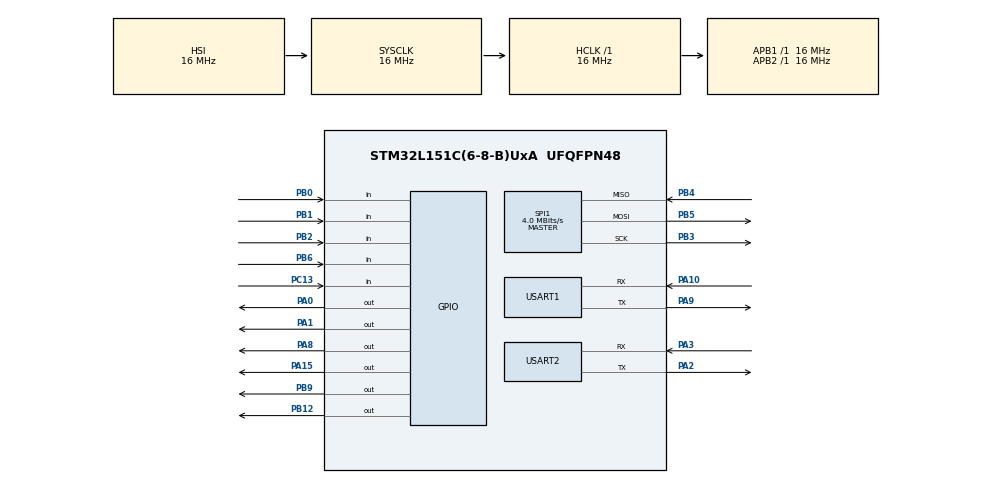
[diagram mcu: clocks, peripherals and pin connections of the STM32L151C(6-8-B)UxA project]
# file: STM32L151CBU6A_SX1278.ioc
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Mcu.Family=STM32L1
Mcu.Name=STM32L151C(6-8-B)UxA
Mcu.Package=UFQFPN48
NVIC.PriorityGroup=NVIC_PRIORITYGROUP_4
NVIC.USART2_IRQn=true\:0\:0\:false\:false\:true\:true\:true
PA0-WKUP1.PinState=GPIO_PIN_SET
PA0-WKUP1.Signal=GPIO_Output
PA1.PinState=GPIO_PIN_SET
PA1.Signal=GPIO_Output
PA10.Mode=Asynchronous
PA10.Signal=USART1_RX
PA13.Signal=SYS_JTMS-SWDIO
PA14.Signal=SYS_JTCK-SWCLK
PA15.PinState=GPIO_PIN_SET
PA15.Signal=GPIO_Output
PA2.Mode=Asynchronous
PA2.Signal=USART2_TX
PA3.Mode=Asynchronous
PA3.Signal=USART2_RX
PA8.Signal=GPIO_Output
PA9.Mode=Asynchronous
PA9.Signal=USART1_TX
PB0.Signal=GPIO_Input
PB1.Signal=GPIO_Input
PB12.PinState=GPIO_PIN_SET
PB12.Signal=GPIO_Output
PB2.Signal=GPIO_Input
PB3.Mode=Full_Duplex_Master
PB3.Signal=SPI1_SCK
PB4.Mode=Full_Duplex_Master
PB4.Signal=SPI1_MISO
PB5.Mode=Full_Duplex_Master
PB5.Signal=SPI1_MOSI
PB6.Signal=GPIO_Input
PB9.PinState=GPIO_PIN_SET
PB9.Signal=GPIO_Output
PC13-WKUP2.Signal=GPIO_Input
ProjectManager.HeapSize=0x200
ProjectManager.StackSize=0x400
ProjectManager.TargetToolchain=EWARM V8.32
RCC.AHBFreq_Value=16000000
RCC.APB1Freq_Value=16000000
RCC.APB1TimFreq_Value=16000000
RCC.APB2Freq_Value=16000000
RCC.APB2TimFreq_Value=16000000
RCC.HCLKFreq_Value=16000000
RCC.HSE_VALUE=24000000
RCC.HSI_VALUE=16000000
RCC.LSE_VALUE=32768
RCC.MSI_VALUE=2097000
RCC.SYSCLKFreq_VALUE=16000000
RCC.SYSCLKSource=RCC_SYSCLKSOURCE_HSI
RCC.VCOOutputFreq_Value=48000000
SPI1.BaudRatePrescaler=SPI_BAUDRATEPRESCALER_4
SPI1.CalculateBaudRate=4.0 MBits/s
SPI1.Direction=SPI_DIRECTION_2LINES
SPI1.Mode=SPI_MODE_MASTER
SPI1.VirtualType=VM_MASTER
USART1.VirtualMode=VM_ASYNC
USART2.VirtualMode=VM_ASYNC
board=custom

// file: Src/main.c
/* USER CODE BEGIN Header */
/**
  ******************************************************************************
  * @file           : main.c
  * @brief          : Main program body
  ******************************************************************************
  * @attention
  *
  * <h2><center>&copy; Copyright (c) 2019 STMicroelectronics.
  * All rights reserved.</center></h2>
  *
  * This software component is licensed by ST under BSD 3-Clause license,
  * the "License"; You may not use this file except in compliance with the
  * License. You may obtain a copy of the License at:
  *                        opensource.org/licenses/BSD-3-Clause
  *
  ******************************************************************************
  */
/* USER CODE END Header */

#include "main.h"
#include "spi.h"
#include "usart.h"
#include "gpio.h"

/* USER CODE BEGIN Includes */

//#include "esp8266.h"
//lora
#include "platform.h"
#include "radio.h"
#include "sx1276-Hal.h"
#include "sx1276-LoRa.h"
#include "sx1276-LoRaMisc.h"

//dht11
#include "dht11.h"
/* USER CODE END Includes */

/* USER CODE BEGIN PD */

#define BUFFERSIZE 10

#define SLAVENUM 0

/* USER CODE END PD */

/* USER CODE BEGIN PV */
uint8_t RegVersion = 0;

// char request_num = -1;
// uint16_t sizeof_request_num = sizeof(request_num);
char data_frame_rev[BUFFERSIZE] = "";
char data_frame_send[BUFFERSIZE] = "";
uint16_t sizeof_data_frame = BUFFERSIZE;

DHT11_Data_TypeDef DHT11_Data;
// char wendu = 21;
// char shidu = 82;

//lora设备初始化的返回值
tRadioDriver *Radio = NULL;

/* USER CODE END PV */

void SystemClock_Config(void);

/* USER CODE BEGIN 0 */

void led_init()//LED初始化为三色
{
	HAL_GPIO_WritePin(GPIOB, GPIO_PIN_12, GPIO_PIN_RESET);//LED_B
	HAL_GPIO_WritePin(GPIOA, GPIO_PIN_0, GPIO_PIN_RESET);//LED_R
	HAL_GPIO_WritePin(GPIOA, GPIO_PIN_1, GPIO_PIN_RESET);//LED_G
}
void led_send()//发送时：蓝灯
{
	HAL_GPIO_WritePin(GPIOB, GPIO_PIN_12, GPIO_PIN_RESET);
	HAL_GPIO_WritePin(GPIOA, GPIO_PIN_0, GPIO_PIN_SET);
	HAL_GPIO_WritePin(GPIOA, GPIO_PIN_1, GPIO_PIN_SET);
}

void led_rev()//接收时：绿灯
{
	HAL_GPIO_WritePin(GPIOB, GPIO_PIN_12, GPIO_PIN_SET);
	HAL_GPIO_WritePin(GPIOA, GPIO_PIN_0, GPIO_PIN_SET);
	HAL_GPIO_WritePin(GPIOA, GPIO_PIN_1, GPIO_PIN_RESET);
}
void led_debug()//debug：红灯
{
	HAL_GPIO_WritePin(GPIOB, GPIO_PIN_12, GPIO_PIN_SET);
	HAL_GPIO_WritePin(GPIOA, GPIO_PIN_0, GPIO_PIN_RESET);
	HAL_GPIO_WritePin(GPIOA, GPIO_PIN_1, GPIO_PIN_SET);
}

void slave_task()
{
	switch(Radio->Process())
	{
		case RF_RX_DONE:

			Radio->GetRxPacket(data_frame_rev, &sizeof_data_frame);
			printf("slave_task:rev  = -%d-\r\n",  data_frame_rev[0]);
			if(SLAVENUM == data_frame_rev[0])
			{
                led_send();//数据是我的，我就进入发送状态
				// while(!Read_DHT11(&DHT11_Data))printf("111\r\n");
				Read_DHT11(&DHT11_Data);
				data_frame_send[0] = SLAVENUM;
				data_frame_send[1] = DHT11_Data.temp_int;
				data_frame_send[2] = DHT11_Data.humi_int;
				// data_frame_send[3] = 0;
				HAL_Delay(1000);
				// printf("-%d-%d-%d-%d-\r\n", data_frame_send[0], data_frame_send[1], data_frame_send[2], data_frame_send[3]);
				// printf("-%s-\r\n", data_frame_send);
				Radio->SetTxPacket(data_frame_send, 3);
				// printf("-%s-\r\n", data_frame_send);
			}
			else
			{
				// HAL_Delay(1000);
				led_rev();//数据与我无关，不处理，继续回到接受状态
				Radio->StartRx();
			}
			break;
		case RF_TX_DONE:
				led_rev();//发完之后立马进入接受状态
				Radio->StartRx();
			break;
		default:
			break;
	}
}

/* USER CODE END 0 */

int main(void)
{

	/* MCU Configuration--------------------------------------------------------*/

	/* Reset of all peripherals, Initializes the Flash interface and the Systick. */
	HAL_Init();

	/* Configure the system clock */
	SystemClock_Config();

	/* Initialize all configured peripherals */
	MX_GPIO_Init();
	MX_SPI1_Init();
	MX_USART1_UART_Init();
	MX_USART2_UART_Init();

	/* Infinite loop */
	/* USER CODE BEGIN WHILE */

    led_init();
//    led_send();
	printf("Hello World!\r\n");
	SX1276Read( REG_LR_VERSION, &RegVersion );
	if(RegVersion != 0x12)
	{
	printf("get RegVersion error, RegVersion = %#x\r\n", RegVersion);
	}
	else
	{
	printf("get RegVersion success, RegVersion = %#x\r\n", RegVersion);
	}
	//sx1278初始化
	Radio = RadioDriverInit();
	Radio->Init();

    Radio->StartRx();
    printf("SLAVE%d start rev \r\n",SLAVENUM);

	while (1)
	{

      // Read_DHT11(&DHT11_Data);
      slave_task();

      // printf("%d\r\n", Read_DHT11(&DHT11_Data));
      // HAL_Delay(100);
      // printf("wendu = %d, shidu = %d\r\n", DHT11_Data.temp_int, DHT11_Data.humi_int);
      // HAL_Delay(2000);

      // led_debug();

      // led_init();
      // HAL_Delay(1000);
      // HAL_UART_Transmit(&huart2, ping_msg , strlen((const char *)ping_msg), 1000);

	/* USER CODE END WHILE */

	}
}

void SystemClock_Config(void)
{
  RCC_OscInitTypeDef RCC_OscInitStruct = {0};
  RCC_ClkInitTypeDef RCC_ClkInitStruct = {0};

  /** Configure the main internal regulator output voltage
  */
  __HAL_PWR_VOLTAGESCALING_CONFIG(PWR_REGULATOR_VOLTAGE_SCALE1);
  /** Initializes the CPU, AHB and APB busses clocks
  */
  RCC_OscInitStruct.OscillatorType = RCC_OSCILLATORTYPE_HSI;
  RCC_OscInitStruct.HSIState = RCC_HSI_ON;
  RCC_OscInitStruct.HSICalibrationValue = RCC_HSICALIBRATION_DEFAULT;
  RCC_OscInitStruct.PLL.PLLState = RCC_PLL_NONE;
  if (HAL_RCC_OscConfig(&RCC_OscInitStruct) != HAL_OK)
  {
    Error_Handler();
  }
  /** Initializes the CPU, AHB and APB busses clocks
  */
  RCC_ClkInitStruct.ClockType = RCC_CLOCKTYPE_HCLK|RCC_CLOCKTYPE_SYSCLK
                              |RCC_CLOCKTYPE_PCLK1|RCC_CLOCKTYPE_PCLK2;
  RCC_ClkInitStruct.SYSCLKSource = RCC_SYSCLKSOURCE_HSI;
  RCC_ClkInitStruct.AHBCLKDivider = RCC_SYSCLK_DIV1;
  RCC_ClkInitStruct.APB1CLKDivider = RCC_HCLK_DIV1;
  RCC_ClkInitStruct.APB2CLKDivider = RCC_HCLK_DIV1;

  if (HAL_RCC_ClockConfig(&RCC_ClkInitStruct, FLASH_LATENCY_0) != HAL_OK)
  {
    Error_Handler();
  }
}

/* USER CODE BEGIN 4 */

//int _write (int fd, char *pBuffer, int size)
//{
//for (int i = 0; i < size; i++)
//{
//while((USART1->SR&0X40)==0);//等待上一次串口数据发送完成
//USART1->DR = (uint8_t) pBuffer[i]; //写DR,串口1将发送数据
//}
//return size;
//}

//重定向串口
int fputc(int c, FILE *stream)
{
    USART1->DR = c;//将c赋给串口1的DR寄存器，即重定向到串口，也可以是其他的接口
    while(!(USART1->SR & (1 << 7))){};//等待数据发送完成
    return c;
}

/* USER CODE END 4 */

void Error_Handler(void)
{
}

/************************ (C) COPYRIGHT STMicroelectronics *****END OF FILE****/
